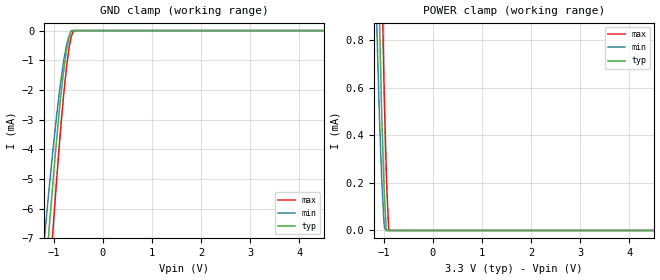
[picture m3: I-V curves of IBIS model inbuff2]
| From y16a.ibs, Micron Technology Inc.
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|   inbuff2 MODEL
[Model]   inbuff2
Model_type   Input
Vinl = 800.000mV
Vinh = 2.000V
|   typ   min   max
C_comp   1.920pF   1.420pF   2.420pF
[Voltage Range]   3.300V   3.000V   3.600V
[Temperature Range]   25.0   85.0   0.0
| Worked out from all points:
|   GND clamp passes 1 mA (typ) near -0.77 V on its own axis
|   POWER clamp passes 1 mA (typ) near -1.10 V on its own axis
[GND Clamp]
|   Voltage   I(typ)   I(min)   I(max)
-3.3V     -707.5mA   -782.5mA   -683.3mA
-1.25V    -9.96mA    NA         NA
-1.09V    -6.553mA   -5.213mA   NA
-1V       -4.748mA   -3.734mA   NA
-890mV    -2.734mA   -2.117mA   -3.896mA
-850mV    -2.08mA    NA         -3.09mA
-790mV    -1.22mA    -929.1uA   NA
-740mV    -644.2uA   -484.7uA   -1.207mA
-700mV    -295.2uA   -215.6uA   NA
-650mV    -12.4uA    NA         -223.5uA
-600mV    0A         NA         0A
6.6V      0A         0A         0A
[POWER Clamp]
|   Voltage   I(typ)   I(min)   I(max)
-3.3V     44.54mA    37.86mA    50.11mA
-1.15V    1.539mA    916.7uA    2.581mA
-1.14V    1.424mA    836.5uA    2.427mA
-1.1V     993uA      543.4uA    1.842mA
-1.09V    895.1uA    478.3uA    1.704mA
-1.05V    542.7uA    251uA      1.189mA
-1.04V    466uA      202.7uA    1.071mA
-1V       205.5uA    44.22uA    646.3uA
-990mV    152.7uA    12.75uA    554.4uA
-950mV    0A         0A         244.1uA
6.6V      0A         0A         0A
